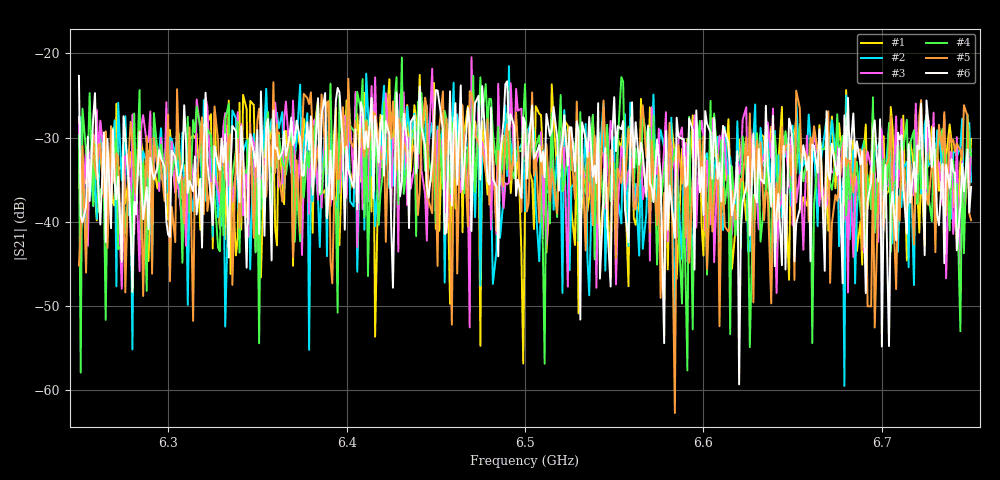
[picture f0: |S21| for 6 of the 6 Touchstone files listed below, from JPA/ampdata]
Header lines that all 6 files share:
# Hz S RI R 50
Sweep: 6.25 GHz to 6.75 GHz
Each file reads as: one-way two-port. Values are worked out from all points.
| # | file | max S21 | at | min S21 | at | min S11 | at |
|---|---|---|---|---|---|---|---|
| 1 | trace94.s2p | -22.57 dB | 6.441 GHz | -56.9 dB | 6.499 GHz | -7.3 dB | 6.5 GHz |
| 2 | trace95.s2p | -21.52 dB | 6.491 GHz | -59.5 dB | 6.679 GHz | -5.9 dB | 6.5 GHz |
| 3 | trace96.s2p | -20.46 dB | 6.47 GHz | -52.6 dB | 6.469 GHz | -2.9 dB | 6.494 GHz |
| 4 | trace97.s2p | -20.49 dB | 6.431 GHz | -57.9 dB | 6.251 GHz | -7.7 dB | 6.488 GHz |
| 5 | trace98.s2p | -23.01 dB | 6.401 GHz | -62.7 dB | 6.584 GHz | -3.9 dB | 6.5 GHz |
| 6 | trace99.s2p | -22.68 dB | 6.25 GHz | -59.3 dB | 6.62 GHz | -2.8 dB | 6.682 GHz |
